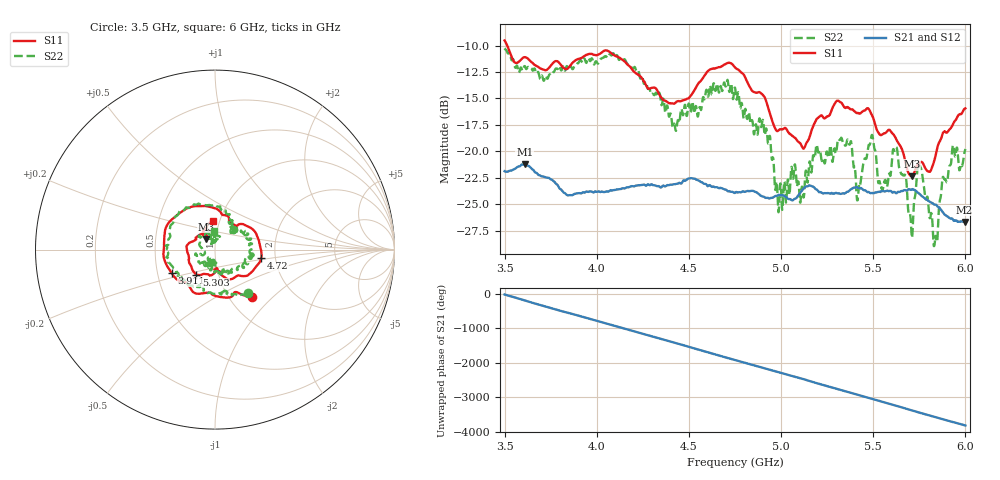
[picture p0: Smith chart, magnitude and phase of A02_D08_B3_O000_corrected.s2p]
! Created with skrf 1.9.0 (http://scikit-rf.org).
# Hz S RI R 50.0
!freq ReS11 ImS11 ReS21 ImS21 ReS12 ImS12 ReS22 ImS22
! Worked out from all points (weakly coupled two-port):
!   1601 points, 3.5 GHz to 6 GHz, reference 50 ohm
!   highest |S21| = -21.21 dB at 3.609 GHz (marker M1); lowest = -26.7 dB at 5.995 GHz (marker M2)
!   lowest |S11| = -22.4 dB at 5.709 GHz (marker M3), VSWR 1.17, Z = 45.1 + j5.32 ohm
!   |S11| at or under -10 dB: 3.514 GHz to end of sweep
!   |S22| runs from -28.9 to -10.3 dB; largest |S21 - S12| = 0.0012
!   S11 on the Smith chart (normalised r, x): 3.5 GHz: 1.27, -0.75; 3.911 GHz: 0.59, -0.17; 4.72 GHz: 1.68, -0.17; 5.303 GHz: 0.78, -0.23; 6 GHz: 0.93, +0.31
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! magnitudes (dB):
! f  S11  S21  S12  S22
! 3.5 GHz  -9.5  -21.9  -21.9  -10.3
! 3.609 GHz  -11.1  -21.2  -21.2  -11.9
! 3.911 GHz  -11.2  -23.9  -23.9  -11.4
! 3.917 GHz  -11.2  -23.9  -24.0  -11.5
! 4.334 GHz  -14.5  -23.3  -23.2  -14.7
! 4.422 GHz  -15.5  -23.1  -23.1  -17.5
! 4.72 GHz  -11.6  -23.7  -23.8  -14.4
! 4.75 GHz  -12.1  -23.9  -23.9  -14.0
! 4.911 GHz  -14.9  -24.3  -24.3  -18.4
! 4.995 GHz  -17.9  -24.1  -24.1  -23.0
! 5.167 GHz  -17.9  -23.3  -23.3  -21.6
! 5.303 GHz  -15.2  -24.0  -23.9  -19.6
! 5.419 GHz  -16.4  -23.4  -23.5  -24.1
! 5.487 GHz  -16.4  -23.9  -23.9  -18.8
! 5.584 GHz  -18.0  -23.7  -23.7  -22.2
! 5.622 GHz  -18.7  -23.9  -24.0  -19.7
! 5.709 GHz  -22.4  -23.6  -23.6  -28.2
! 5.753 GHz  -21.1  -24.0  -24.0  -21.4
! 5.838 GHz  -20.4  -25.0  -25.0  -28.0
! 5.927 GHz  -17.7  -26.3  -26.3  -20.3
! 5.995 GHz  -16.0  -26.7  -26.6  -20.1
! 6 GHz  -15.9  -26.7  -26.6  -19.8
